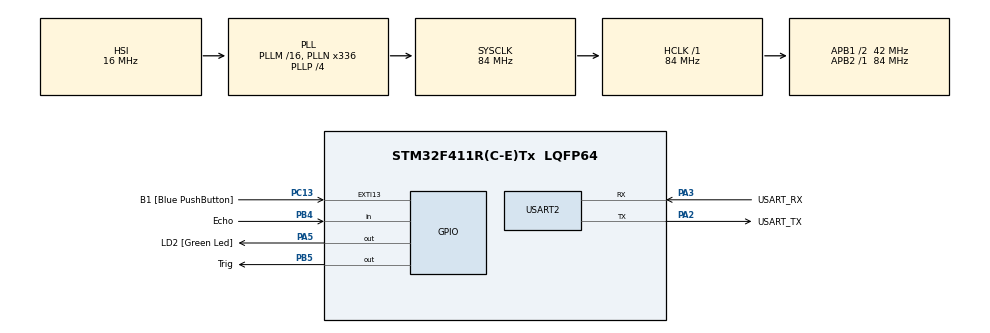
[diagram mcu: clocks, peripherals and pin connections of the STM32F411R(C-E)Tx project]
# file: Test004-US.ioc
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Mcu.Family=STM32F4
Mcu.Name=STM32F411R(C-E)Tx
Mcu.Package=LQFP64
NVIC.PriorityGroup=NVIC_PRIORITYGROUP_0
PA13.GPIO_Label=TMS
PA13.Mode=Serial_Wire
PA13.Signal=SYS_JTMS-SWDIO
PA14.GPIO_Label=TCK
PA14.Mode=Serial_Wire
PA14.Signal=SYS_JTCK-SWCLK
PA2.GPIO_Label=USART_TX
PA2.Mode=Asynchronous
PA2.Signal=USART2_TX
PA3.GPIO_Label=USART_RX
PA3.Mode=Asynchronous
PA3.Signal=USART2_RX
PA5.GPIO_Label=LD2 [Green Led]
PA5.Signal=GPIO_Output
PB3.GPIO_Label=SWO
PB3.Signal=SYS_JTDO-SWO
PB4.GPIO_Label=Echo
PB4.Signal=GPIO_Input
PB5.GPIO_Label=Trig
PB5.Signal=GPIO_Output
PC13-ANTI_TAMP.GPIO_Label=B1 [Blue PushButton]
PC13-ANTI_TAMP.GPIO_ModeDefaultEXTI=GPIO_MODE_IT_FALLING
PC13-ANTI_TAMP.Signal=GPXTI13
PC14-OSC32_IN.Mode=LSE-External-Oscillator
PC14-OSC32_IN.Signal=RCC_OSC32_IN
PC15-OSC32_OUT.Mode=LSE-External-Oscillator
PC15-OSC32_OUT.Signal=RCC_OSC32_OUT
PH0\ -\ OSC_IN.Mode=HSE-External-Clock-Source
PH0\ -\ OSC_IN.Signal=RCC_OSC_IN
PH1\ -\ OSC_OUT.Mode=HSE-External-Clock-Source
PH1\ -\ OSC_OUT.Signal=RCC_OSC_OUT
ProjectManager.HeapSize=0x200
ProjectManager.StackSize=0x400
ProjectManager.TargetToolchain=STM32CubeIDE
RCC.48MHZClocksFreq_Value=84000000
RCC.AHBFreq_Value=84000000
RCC.APB1CLKDivider=RCC_HCLK_DIV2
RCC.APB1Freq_Value=42000000
RCC.APB1TimFreq_Value=84000000
RCC.APB2Freq_Value=84000000
RCC.APB2TimFreq_Value=84000000
RCC.CortexFreq_Value=84000000
RCC.FLatency-AdvancedSettings=FLASH_LATENCY_2
RCC.HCLKFreq_Value=84000000
RCC.HSE_VALUE=8000000
RCC.HSI_VALUE=16000000
RCC.PLLN=336
RCC.PLLP=RCC_PLLP_DIV4
RCC.SYSCLKFreq_VALUE=84000000
RCC.SYSCLKSource=RCC_SYSCLKSOURCE_PLLCLK
RCC.VCOOutputFreq_Value=336000000
TIM5.Prescaler=84-1
USART2.VirtualMode=VM_ASYNC
VP_TIM5_VS_ClockSourceINT.Mode=Internal
board=NUCLEO-F411RE

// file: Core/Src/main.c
/* USER CODE BEGIN Header */
/**
  ******************************************************************************
  * @file           : main.c
  * @brief          : Main program body
  ******************************************************************************
  * @attention
  *
  * Copyright (c) 2024 STMicroelectronics.
  * All rights reserved.
  *
  * This software is licensed under terms that can be found in the LICENSE file
  * in the root directory of this software component.
  * If no LICENSE file comes with this software, it is provided AS-IS.
  *
  ******************************************************************************
  */
/* USER CODE END Header */
#include "main.h"

TIM_HandleTypeDef htim5;

UART_HandleTypeDef huart2;

void SystemClock_Config(void);
static void MX_GPIO_Init(void);
static void MX_USART2_UART_Init(void);
static void MX_TIM5_Init(void);

/* USER CODE BEGIN 0 */
void microDelay(int us)
{

	htim5.Instance->CNT = 0;
	while((htim5.Instance->CNT < us));

}

void trigger()
{
	//Trigger Signal
	HAL_GPIO_WritePin(Trig_GPIO_Port, Trig_Pin, 1);
    microDelay(10);	// 10us Trigger signal
    HAL_GPIO_WritePin(Trig_GPIO_Port, Trig_Pin, 0);
    microDelay(10);
}

double Distance()
{
	trigger();
	while(HAL_GPIO_ReadPin(Echo_GPIO_Port, Echo_Pin) != 1);
	int t1 = htim5.Instance->CNT;
	//Wait until Echo Falling_Edge
	while(HAL_GPIO_ReadPin(Echo_GPIO_Port, Echo_Pin) != 0);
	int t2 = htim5.Instance->CNT;
	double dist = (t2 - t1) * (0.000170);

	return dist;
}

/* USER CODE END 0 */

int main(void)
{

  /* MCU Configuration--------------------------------------------------------*/

  /* Reset of all peripherals, Initializes the Flash interface and the Systick. */
  HAL_Init();

  /* Configure the system clock */
  SystemClock_Config();

  /* Initialize all configured peripherals */
  MX_GPIO_Init();
  MX_USART2_UART_Init();
  MX_TIM5_Init();
  /* USER CODE BEGIN 2 */

  ProgramStart("Ultra Sonic GPIO");
  HAL_TIM_Base_Start(&htim5);
  //HAL_TIM_Base_Start_IT(&htim3);
  //HAL_TIM_PWM_Start(&htim3, TIM_CHANNEL_2);
  //htim3.Instance->CCR2=3;
  /* USER CODE END 2 */

  /* Infinite loop */
  while (1)
  {

    /* USER CODE BEGIN 3 */

	  double d = Distance()*100;
	  printf("\033[?25l\n");
	  printf("\033[10;25f\033#3Distance : %.2f cm   ", d);  //upper half
	  printf("\033[11;25f\033#4Distance : %.2f cm   \033[9;10H\n", d);  //lower half
	  HAL_Delay(100);

  }

  /* USER CODE END 3 */
}

void SystemClock_Config(void)
{
  RCC_OscInitTypeDef RCC_OscInitStruct = {0};
  RCC_ClkInitTypeDef RCC_ClkInitStruct = {0};

  /** Configure the main internal regulator output voltage
  */
  __HAL_RCC_PWR_CLK_ENABLE();
  __HAL_PWR_VOLTAGESCALING_CONFIG(PWR_REGULATOR_VOLTAGE_SCALE1);

  /** Initializes the RCC Oscillators according to the specified parameters
  * in the RCC_OscInitTypeDef structure.
  */
  RCC_OscInitStruct.OscillatorType = RCC_OSCILLATORTYPE_HSI;
  RCC_OscInitStruct.HSIState = RCC_HSI_ON;
  RCC_OscInitStruct.HSICalibrationValue = RCC_HSICALIBRATION_DEFAULT;
  RCC_OscInitStruct.PLL.PLLState = RCC_PLL_ON;
  RCC_OscInitStruct.PLL.PLLSource = RCC_PLLSOURCE_HSI;
  RCC_OscInitStruct.PLL.PLLM = 16;
  RCC_OscInitStruct.PLL.PLLN = 336;
  RCC_OscInitStruct.PLL.PLLP = RCC_PLLP_DIV4;
  RCC_OscInitStruct.PLL.PLLQ = 4;
  if (HAL_RCC_OscConfig(&RCC_OscInitStruct) != HAL_OK)
  {
    Error_Handler();
  }

  /** Initializes the CPU, AHB and APB buses clocks
  */
  RCC_ClkInitStruct.ClockType = RCC_CLOCKTYPE_HCLK|RCC_CLOCKTYPE_SYSCLK
                              |RCC_CLOCKTYPE_PCLK1|RCC_CLOCKTYPE_PCLK2;
  RCC_ClkInitStruct.SYSCLKSource = RCC_SYSCLKSOURCE_PLLCLK;
  RCC_ClkInitStruct.AHBCLKDivider = RCC_SYSCLK_DIV1;
  RCC_ClkInitStruct.APB1CLKDivider = RCC_HCLK_DIV2;
  RCC_ClkInitStruct.APB2CLKDivider = RCC_HCLK_DIV1;

  if (HAL_RCC_ClockConfig(&RCC_ClkInitStruct, FLASH_LATENCY_2) != HAL_OK)
  {
    Error_Handler();
  }
}

static void MX_TIM5_Init(void)
{

  TIM_ClockConfigTypeDef sClockSourceConfig = {0};
  TIM_MasterConfigTypeDef sMasterConfig = {0};

  htim5.Instance = TIM5;
  htim5.Init.Prescaler = 84-1;
  htim5.Init.CounterMode = TIM_COUNTERMODE_UP;
  htim5.Init.Period = 4294967295;
  htim5.Init.ClockDivision = TIM_CLOCKDIVISION_DIV1;
  htim5.Init.AutoReloadPreload = TIM_AUTORELOAD_PRELOAD_DISABLE;
  if (HAL_TIM_Base_Init(&htim5) != HAL_OK)
  {
    Error_Handler();
  }
  sClockSourceConfig.ClockSource = TIM_CLOCKSOURCE_INTERNAL;
  if (HAL_TIM_ConfigClockSource(&htim5, &sClockSourceConfig) != HAL_OK)
  {
    Error_Handler();
  }
  sMasterConfig.MasterOutputTrigger = TIM_TRGO_RESET;
  sMasterConfig.MasterSlaveMode = TIM_MASTERSLAVEMODE_DISABLE;
  if (HAL_TIMEx_MasterConfigSynchronization(&htim5, &sMasterConfig) != HAL_OK)
  {
    Error_Handler();
  }

}

static void MX_USART2_UART_Init(void)
{

  huart2.Instance = USART2;
  huart2.Init.BaudRate = 115200;
  huart2.Init.WordLength = UART_WORDLENGTH_8B;
  huart2.Init.StopBits = UART_STOPBITS_1;
  huart2.Init.Parity = UART_PARITY_NONE;
  huart2.Init.Mode = UART_MODE_TX_RX;
  huart2.Init.HwFlowCtl = UART_HWCONTROL_NONE;
  huart2.Init.OverSampling = UART_OVERSAMPLING_16;
  if (HAL_UART_Init(&huart2) != HAL_OK)
  {
    Error_Handler();
  }

}

static void MX_GPIO_Init(void)
{
  GPIO_InitTypeDef GPIO_InitStruct = {0};

  /* GPIO Ports Clock Enable */
  __HAL_RCC_GPIOC_CLK_ENABLE();
  __HAL_RCC_GPIOH_CLK_ENABLE();
  __HAL_RCC_GPIOA_CLK_ENABLE();
  __HAL_RCC_GPIOB_CLK_ENABLE();

  /*Configure GPIO pin Output Level */
  HAL_GPIO_WritePin(LD2_GPIO_Port, LD2_Pin, GPIO_PIN_RESET);

  /*Configure GPIO pin Output Level */
  HAL_GPIO_WritePin(Trig_GPIO_Port, Trig_Pin, GPIO_PIN_RESET);

  /*Configure GPIO pin : B1_Pin */
  GPIO_InitStruct.Pin = B1_Pin;
  GPIO_InitStruct.Mode = GPIO_MODE_IT_FALLING;
  GPIO_InitStruct.Pull = GPIO_NOPULL;
  HAL_GPIO_Init(B1_GPIO_Port, &GPIO_InitStruct);

  /*Configure GPIO pin : LD2_Pin */
  GPIO_InitStruct.Pin = LD2_Pin;
  GPIO_InitStruct.Mode = GPIO_MODE_OUTPUT_PP;
  GPIO_InitStruct.Pull = GPIO_NOPULL;
  GPIO_InitStruct.Speed = GPIO_SPEED_FREQ_LOW;
  HAL_GPIO_Init(LD2_GPIO_Port, &GPIO_InitStruct);

  /*Configure GPIO pin : Echo_Pin */
  GPIO_InitStruct.Pin = Echo_Pin;
  GPIO_InitStruct.Mode = GPIO_MODE_INPUT;
  GPIO_InitStruct.Pull = GPIO_NOPULL;
  HAL_GPIO_Init(Echo_GPIO_Port, &GPIO_InitStruct);

  /*Configure GPIO pin : Trig_Pin */
  GPIO_InitStruct.Pin = Trig_Pin;
  GPIO_InitStruct.Mode = GPIO_MODE_OUTPUT_PP;
  GPIO_InitStruct.Pull = GPIO_NOPULL;
  GPIO_InitStruct.Speed = GPIO_SPEED_FREQ_LOW;
  HAL_GPIO_Init(Trig_GPIO_Port, &GPIO_InitStruct);

}

void Error_Handler(void)
{
  __disable_irq();
  while (1)
  {
  }
}
